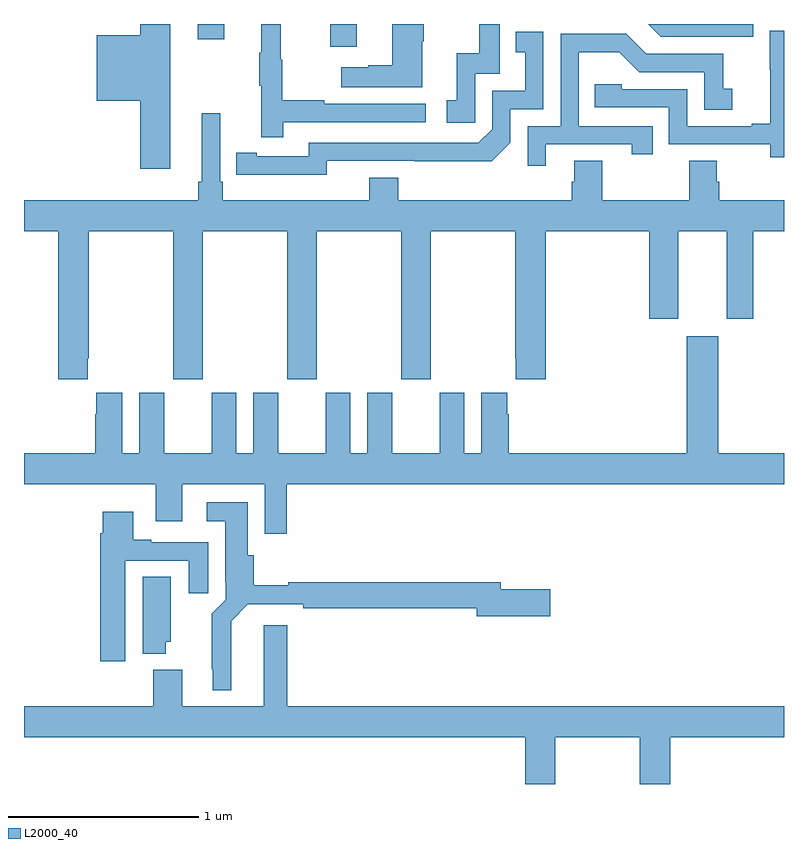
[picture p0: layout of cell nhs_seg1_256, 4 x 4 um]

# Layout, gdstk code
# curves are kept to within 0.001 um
import gdstk
lib = gdstk.Library(unit=1e-6, precision=1e-09)
def R(c, l, rs):  # rectangles x0, y0, x1, y1
    for r in rs: c.add(gdstk.rectangle(r[:2], r[2:], *l))
def P(c, l, *ps):  # polygons
    for p in ps: c.add(gdstk.Polygon(p, *l))
L2000_40 = (2000, 40)

nhs_seg1_256 = lib.new_cell('nhs_seg1_256')
R(nhs_seg1_256, L2000_40, [(126.611,510.078,126.751,510.199), (125.915,510.12,126.055,510.199)])
P(nhs_seg1_256, L2000_40, [(127.096,510.107),(127.104,510.107),(127.104,510.199),(126.938,510.199),(126.938,509.981),(126.812,509.981),(126.812,509.971),(126.669,509.971),(126.669,509.867),(127.096,509.867)],
  [(125.77,510.199),(125.612,510.199),(125.612,510.139),(125.384,510.139),(125.384,509.795),(125.612,509.795),(125.612,509.436),(125.77,509.436)],
  [(128.838,510.199),(128.285,510.199),(128.352,510.132),(128.838,510.132)],
  [(127.374,509.937),(127.503,509.937),(127.503,510.199),(127.395,510.199),(127.395,510.046),(127.277,510.046),(127.277,509.799),(127.224,509.799),(127.224,509.679),(127.374,509.679)],
  [(126.365,509.682),(127.114,509.682),(127.114,509.778),(126.581,509.778),(126.581,509.798),(126.358,509.798),(126.358,510.012),(126.35,510.012),(126.35,510.199),(126.248,510.199),(126.248,510.049),(126.237,510.049),(126.237,509.875),(126.248,509.875),(126.248,509.604),(126.365,509.604)],
  [(129,510.163),(128.926,510.163),(128.926,509.957),(128.927,509.957),(128.927,509.674),(128.831,509.674),(128.831,509.661),(128.49,509.661),(128.49,509.856),(128.145,509.856),(128.145,509.883),(128.005,509.883),(128.005,509.76),(128.394,509.76),(128.394,509.565),(128.928,509.565),(128.928,509.497),(129,509.497)],
  [(126.594,509.478),(127.462,509.477),(127.56,509.574),(127.56,509.751),(127.734,509.751),(127.734,510.157),(127.588,510.157),(127.588,510.051),(127.637,510.051),(127.637,509.847),(127.464,509.847),(127.464,509.646),(127.392,509.574),(126.498,509.574),(126.498,509.502),(126.226,509.502),(126.226,509.522),(126.118,509.522),(126.118,509.406),(126.594,509.405)],
  [(127.747,509.565),(128.198,509.565),(128.198,509.514),(128.309,509.514),(128.309,509.661),(127.92,509.661),(127.92,510.05),(128.134,510.05),(128.238,509.946),(128.58,509.946),(128.58,509.748),(128.727,509.748),(128.727,509.857),(128.679,509.857),(128.679,510.042),(128.275,510.042),(128.17,510.147),(127.824,510.147),(127.824,509.661),(127.65,509.661),(127.65,509.454),(127.747,509.454)],
  [(125.335,508.441),(125.34,508.441),(125.34,509.108),(125.785,509.108),(125.785,508.329),(125.94,508.329),(125.94,509.108),(126.385,509.108),(126.385,508.329),(126.54,508.329),(126.54,509.108),(126.985,509.108),(126.985,508.329),(127.14,508.329),(127.14,509.108),(127.585,509.108),(127.585,508.441),(127.589,508.441),(127.589,508.329),(127.745,508.329),(127.745,509.108),(128.291,509.108),(128.291,508.647),(128.443,508.647),(128.443,509.108),(128.699,509.108),(128.699,508.647),(128.839,508.647),(128.839,509.108),(129,509.108),(129,509.272),(128.66,509.272),(128.66,509.37),(128.647,509.37),(128.647,509.48),(128.5,509.48),(128.5,509.272),(128.043,509.272),(128.043,509.48),(127.895,509.48),(127.895,509.37),(127.883,509.37),(127.883,509.272),(126.971,509.272),(126.971,509.389),(126.818,509.389),(126.818,509.272),(126.047,509.272),(126.047,509.368),(126.033,509.368),(126.033,509.728),(125.936,509.728),(125.936,509.368),(125.917,509.368),(125.917,509.272),(125,509.272),(125,509.108),(125.18,509.108),(125.18,508.329),(125.335,508.329)],
  [(129,507.94),(128.653,507.94),(128.653,508.555),(128.489,508.555),(128.489,507.94),(127.55,507.94),(127.55,508.145),(127.543,508.145),(127.543,508.258),(127.406,508.258),(127.406,507.94),(127.318,507.94),(127.318,508.258),(127.187,508.258),(127.187,507.94),(126.937,507.94),(126.937,508.258),(126.806,508.258),(126.806,507.94),(126.718,507.94),(126.718,508.258),(126.587,508.258),(126.587,507.94),(126.337,507.94),(126.337,508.258),(126.206,508.258),(126.206,507.94),(126.118,507.94),(126.118,508.258),(125.987,508.258),(125.987,507.94),(125.737,507.94),(125.737,508.258),(125.606,508.258),(125.606,507.94),(125.518,507.94),(125.518,508.258),(125.381,508.258),(125.381,508.145),(125.375,508.145),(125.375,507.94),(125,507.94),(125,507.776),(125.693,507.776),(125.693,507.582),(125.833,507.582),(125.833,507.776),(126.267,507.776),(126.267,507.516),(126.383,507.516),(126.383,507.776),(129,507.776)],
  [(126.091,507.056),(126.178,507.144),(126.469,507.144),(126.469,507.124),(127.382,507.124),(127.382,507.082),(127.771,507.082),(127.771,507.224),(127.51,507.224),(127.51,507.26),(126.392,507.26),(126.392,507.245),(126.209,507.245),(126.209,507.402),(126.178,507.402),(126.178,507.682),(125.961,507.682),(125.961,507.581),(126.059,507.581),(126.059,507.262),(126.063,507.262),(126.063,507.168),(125.989,507.094),(125.989,506.803),(125.993,506.803),(125.993,506.693),(126.091,506.693)],
  [(125.533,507.375),(125.867,507.375),(125.867,507.204),(125.971,507.204),(125.971,507.471),(125.671,507.471),(125.671,507.484),(125.575,507.484),(125.575,507.631),(125.414,507.631),(125.414,507.518),(125.402,507.518),(125.402,506.844),(125.533,506.844)],
  [(125.746,506.949),(125.773,506.949),(125.773,507.29),(125.624,507.29),(125.624,506.885),(125.746,506.885)],
  [(127.797,506.444),(128.242,506.444),(128.242,506.199),(128.402,506.199),(128.402,506.444),(129,506.444),(129,506.608),(126.386,506.608),(126.386,507.034),(126.263,507.034),(126.263,506.608),(125.833,506.608),(125.833,506.8),(125.681,506.8),(125.681,506.608),(125,506.608),(125,506.444),(127.637,506.444),(127.637,506.199),(127.797,506.199)])

lib.write_gds('nhs_seg1_256.gds')
